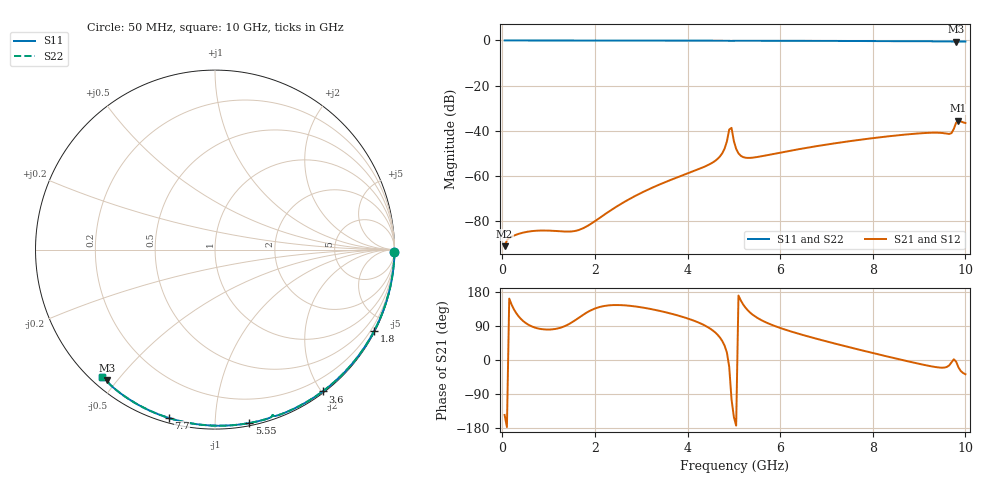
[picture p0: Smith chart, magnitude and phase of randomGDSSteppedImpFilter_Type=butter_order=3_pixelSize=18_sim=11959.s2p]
! freq	dB(S11)	phase(S11)	dB(S12)	phase(S12)
!  dB(S21)	phase(S21)	dB(S22)	phase(S22)
!S-par simulation data
#  GHz  S  DB  R 50
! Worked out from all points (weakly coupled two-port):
!   200 points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, 50 MHz to 10 GHz, reference 50 ohm
!   highest |S21| = -35.51 dB at 9.85 GHz (marker M1); lowest = -91.0 dB at 50 MHz (marker M2)
!   lowest |S11| = -0.5 dB at 9.8 GHz (marker M3), VSWR 34.98, Z = 1.75 - j23.6 ohm
!   |S11| at or under -10 dB: nowhere
!   |S22| runs from -0.5 to 0.0 dB; largest |S21 - S12| = 0
!   S11 on the Smith chart (normalised r, x): 50 MHz: open; 1.8 GHz: 0.04, -4.16; 3.6 GHz: 0.02, -2.01; 5.55 GHz: 0.02, -1.22; 7.7 GHz: 0.02, -0.76; 10 GHz: 0.03, -0.45
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0.05  -0.00 -0.8  -91.03 -145.0  -91.03 -145.0  -0.00 -0.8
1.75  -0.03 -26.3  -83.06 119.7  -83.06 119.7  -0.03 -26.3
1.8  -0.03 -27.0  -82.53 123.5  -82.53 123.5  -0.03 -27.0
2  -0.04 -30.0  -79.98 135.8  -79.98 135.8  -0.04 -30.0
2.65  -0.05 -39.4  -71.27 144.2  -71.27 144.2  -0.05 -39.4
3.4  -0.07 -50.1  -63.70 129.6  -63.70 129.6  -0.07 -50.1
3.6  -0.07 -52.8  -62.01 123.8  -62.01 123.8  -0.07 -52.8
4.65  -0.10 -67.2  -52.38 66.4  -52.38 66.4  -0.10 -67.2
4.8  -0.11 -69.3  -47.87 38.0  -47.87 38.0  -0.11 -69.3
4.9  -0.18 -70.9  -39.42 -17.9  -39.42 -17.9  -0.18 -70.9
4.95  -0.21 -70.7  -38.68 -103.7  -38.68 -103.7  -0.21 -70.7
5.05  -0.12 -72.2  -47.98 -173.2  -47.98 -173.2  -0.12 -72.2
5.2  -0.12 -74.3  -51.61 146.7  -51.61 146.7  -0.12 -74.3
5.55  -0.13 -78.8  -51.42 108.1  -51.42 108.1  -0.13 -78.8
6.7  -0.18 -93.3  -47.07 58.9  -47.07 58.9  -0.18 -93.3
7.7  -0.24 -105.3  -44.01 27.4  -44.01 27.4  -0.24 -105.3
8.35  -0.29 -113.0  -42.39 8.2  -42.39 8.2  -0.29 -113.0
9.65  -0.43 -128.0  -41.36 -14.3  -41.36 -14.3  -0.43 -128.0
9.7  -0.45 -128.6  -41.01 -6.3  -41.01 -6.3  -0.45 -128.6
9.8  -0.50 -129.5  -36.36 -4.4  -36.36 -4.4  -0.50 -129.5
9.85  -0.48 -129.8  -35.51 -19.4  -35.51 -19.4  -0.48 -129.8
10  -0.45 -131.6  -36.54 -37.6  -36.54 -37.6  -0.45 -131.6
